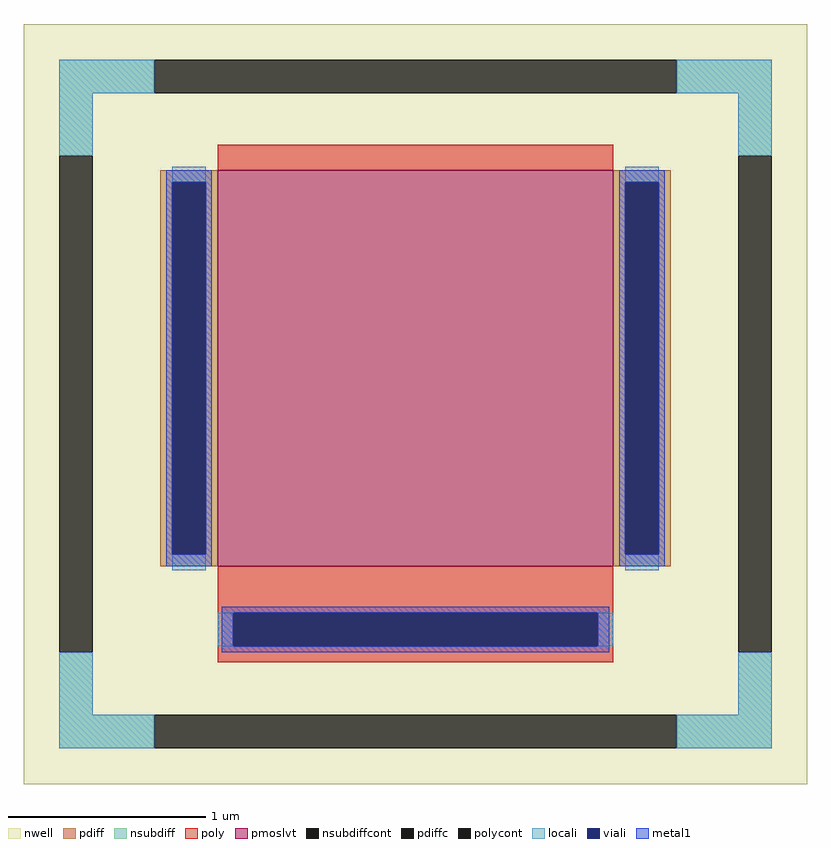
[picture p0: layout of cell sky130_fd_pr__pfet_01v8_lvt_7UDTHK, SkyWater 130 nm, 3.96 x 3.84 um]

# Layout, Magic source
magic
tech sky130A
magscale 1 2
<< nwell >>
rect -396 -384 396 384
<< pmoslvt >>
rect -200 -164 200 236
<< pdiff >>
rect -258 224 -200 236
rect -258 -152 -246 224
rect -212 -152 -200 224
rect -258 -164 -200 -152
rect 200 224 258 236
rect 200 -152 212 224
rect 246 -152 258 224
rect 200 -164 258 -152
<< pdiffc >>
rect -246 -152 -212 224
rect 212 -152 246 224
<< nsubdiff >>
rect -360 314 -264 348
rect 264 314 360 348
rect -360 251 -326 314
rect 326 251 360 314
rect -360 -314 -326 -251
rect 326 -314 360 -251
rect -360 -348 -264 -314
rect 264 -348 360 -314
<< nsubdiffcont >>
rect -264 314 264 348
rect -360 -251 -326 251
rect 326 -251 360 251
rect -264 -348 264 -314
<< poly >>
rect -200 236 200 262
rect -200 -211 200 -164
rect -200 -245 -184 -211
rect 184 -245 200 -211
rect -200 -261 200 -245
<< polycont >>
rect -184 -245 184 -211
<< locali >>
rect -360 314 -264 348
rect 264 314 360 348
rect -360 251 -326 314
rect 326 251 360 314
rect -246 224 -212 240
rect -246 -168 -212 -152
rect 212 224 246 240
rect 212 -168 246 -152
rect -200 -245 -184 -211
rect 184 -245 200 -211
rect -360 -314 -326 -251
rect 326 -314 360 -251
rect -360 -348 -264 -314
rect 264 -348 360 -314
<< viali >>
rect -246 -152 -212 224
rect 212 -152 246 224
rect -184 -245 184 -211
<< metal1 >>
rect -252 224 -206 236
rect -252 -152 -246 224
rect -212 -152 -206 224
rect -252 -164 -206 -152
rect 206 224 252 236
rect 206 -152 212 224
rect 246 -152 252 224
rect 206 -164 252 -152
rect -196 -211 196 -205
rect -196 -245 -184 -211
rect 184 -245 196 -211
rect -196 -251 196 -245
<< properties >>
string FIXED_BBOX -343 -331 343 331
string gencell sky130_fd_pr__pfet_01v8_lvt
string library sky130
string parameters w 2 l 2 m 1 nf 1 diffcov 100 polycov 100 guard 1 glc 1 grc 1 gtc 1 gbc 1 tbcov 100 rlcov 100 topc 0 botc 1 poverlap 0 doverlap 1 lmin 0.35 wmin 0.42 compatible {sky130_fd_pr__pfet_01v8  sky130_fd_pr__pfet_01v8_lvt sky130_fd_pr__pfet_01v8_hvt  sky130_fd_pr__pfet_g5v0d10v5} full_metal 1 viasrc 100 viadrn 100 viagate 100 viagb 0 viagr 0 viagl 0 viagt 0
<< end >>
